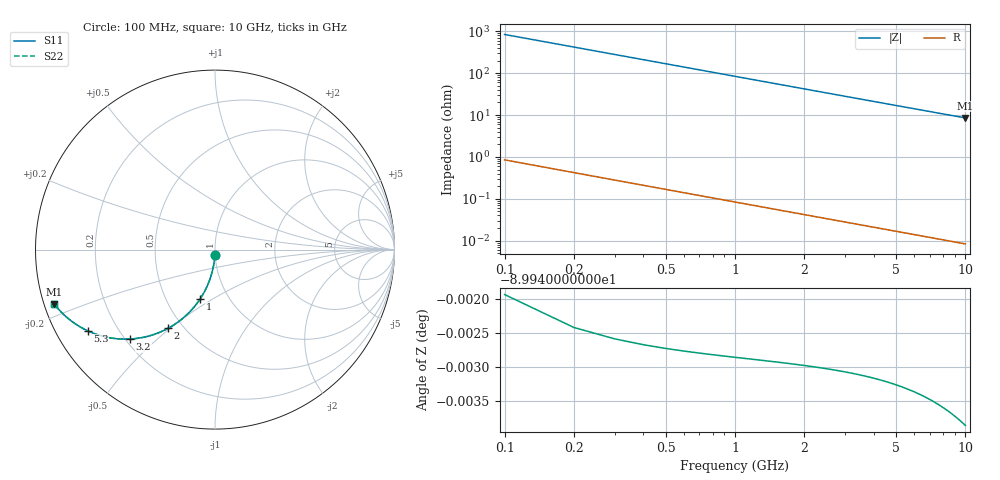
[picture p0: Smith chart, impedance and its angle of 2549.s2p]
# Hz S RI R 50.00
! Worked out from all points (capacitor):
!   100 points, 100 MHz to 10 GHz, reference 50 ohm
!   read as one part in shunt: C = 1.89 pF near 100 MHz
!   lowest |Z| = 8.54 ohm at 10 GHz (marker M1)
!   S11 on the Smith chart (normalised r, x): 100 MHz: 1.00, -0.06; 1 GHz: 0.74, -0.44; 2 GHz: 0.42, -0.49; 3.2 GHz: 0.22, -0.41; 5.3 GHz: 0.09, -0.29; 10 GHz: 0.03, -0.16
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1e8  -0.000909 -0.0297  0.9991 -0.0298  0.9991 -0.0298  -0.000909 -0.0297
2e8  -0.00358 -0.0593  0.9964 -0.0593  0.9964 -0.0593  -0.00358 -0.0593
3e8  -0.00799 -0.0885  0.992 -0.0886  0.992 -0.0886  -0.00799 -0.0885
4e8  -0.0141 -0.1173  0.9859 -0.1174  0.9859 -0.1174  -0.0141 -0.1173
5e8  -0.0218 -0.1454  0.9782 -0.1456  0.9782 -0.1456  -0.0218 -0.1454
6e8  -0.031 -0.1728  0.969 -0.1731  0.969 -0.1731  -0.031 -0.1728
7e8  -0.0417 -0.1994  0.9582 -0.1996  0.9582 -0.1996  -0.0417 -0.1994
8e8  -0.0538 -0.225  0.9462 -0.2253  0.9462 -0.2253  -0.0538 -0.225
1e9  -0.0815 -0.2729  0.9185 -0.2733  0.9185 -0.2733  -0.0815 -0.2729
1.2e9  -0.1132 -0.3161  0.8868 -0.3165  0.8868 -0.3165  -0.1132 -0.3161
1.4e9  -0.1479 -0.3542  0.8521 -0.3547  0.8521 -0.3547  -0.1479 -0.3542
1.8e9  -0.2226 -0.4151  0.7774 -0.4158  0.7774 -0.4158  -0.2226 -0.4151
2e9  -0.261 -0.4383  0.739 -0.4391  0.739 -0.4391  -0.261 -0.4383
2.6e9  -0.3732 -0.4827  0.6268 -0.4837  0.6268 -0.4837  -0.3732 -0.4827
3.2e9  -0.4737 -0.4982  0.5263 -0.4994  0.5263 -0.4994  -0.4737 -0.4982
3.4e9  -0.5038 -0.4988  0.4962 -0.5002  0.4962 -0.5002  -0.5038 -0.4988
4.2e9  -0.6071 -0.4871  0.3929 -0.4887  0.3929 -0.4887  -0.6071 -0.4871
5.1e9  -0.6944 -0.4592  0.3056 -0.4612  0.3056 -0.4612  -0.6944 -0.4592
5.3e9  -0.7103 -0.4521  0.2897 -0.4542  0.2897 -0.4542  -0.7103 -0.4521
6.7e9  -0.7961 -0.401  0.2039 -0.4037  0.2039 -0.4037  -0.7961 -0.401
8.4e9  -0.8595 -0.3453  0.1405 -0.3487  0.1405 -0.3487  -0.8595 -0.3453
1e10  -0.8963 -0.3023  0.1036 -0.3063  0.1036 -0.3063  -0.8963 -0.3023
